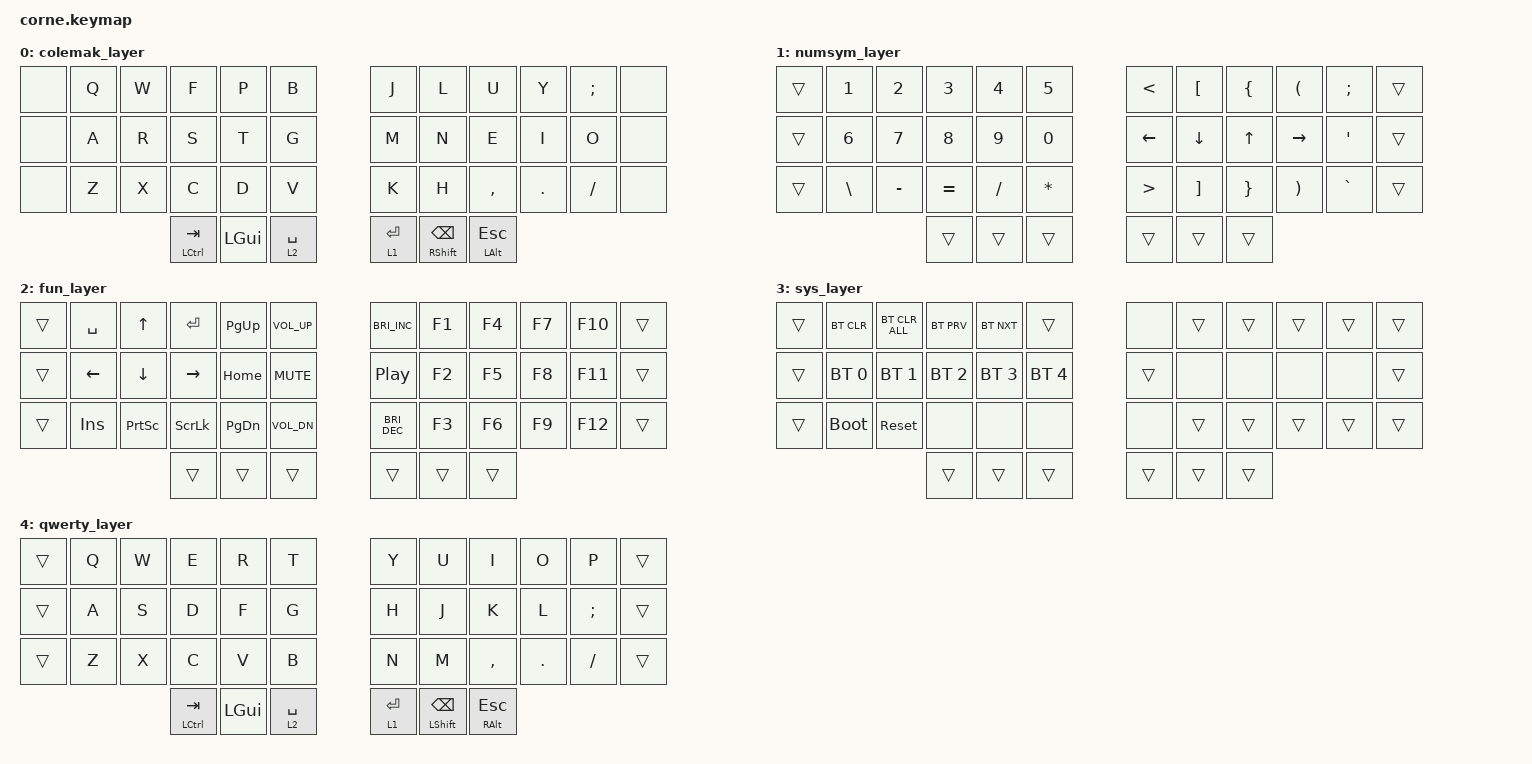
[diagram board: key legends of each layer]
/*
 * Copyright (c) 2020 The ZMK Contributors
 *
 * SPDX-License-Identifier: MIT
 */

#include <behaviors.dtsi>
#include <dt-bindings/zmk/bt.h>
#include <dt-bindings/zmk/keys.h>

&mt {
    tapping-term-ms = <400>;
    quick-tap-ms = <175>;
    require-prior-idle-ms = <150>;
    flavor = "balanced";
};

&lt { tapping-term-ms = <400>; };

/ {
    combos {
        compatible = "zmk,combos";

        combo_esc {
            timeout-ms = <50>;
            key-positions = <0 1 2>;
            bindings = <&kp ESCAPE>;
        };

        combo_bksp {
            timeout-ms = <50>;
            key-positions = <9 8 7>;
            bindings = <&kp BACKSPACE>;
        };

        combo_tab {
            bindings = <&kp TAB>;
            key-positions = <12 11 10>;
        };

        combo_shift {
            bindings = <&kp LEFT_SHIFT>;
            key-positions = <22 21 20>;
        };

        combo_delete {
            bindings = <&kp DELETE>;
            key-positions = <19 18 17>;
        };

        combo_rshift {
            bindings = <&kp RIGHT_SHIFT>;
            key-positions = <29 28 27>;
        };

        exclm {
            bindings = <&kp EXCLAMATION>;
            key-positions = <0 10>;
        };

        at {
            bindings = <&kp AT_SIGN>;
            key-positions = <1 11>;
        };

        hash {
            bindings = <&kp HASH>;
            key-positions = <2 12>;
        };

        dllr {
            bindings = <&kp DOLLAR>;
            key-positions = <3 13>;
        };

        percnt {
            bindings = <&kp PERCENT>;
            key-positions = <4 14>;
        };

        caret {
            bindings = <&kp CARET>;
            key-positions = <5 15>;
        };

        and {
            bindings = <&kp AMPERSAND>;
            key-positions = <6 16>;
        };

        str {
            bindings = <&kp ASTERISK>;
            key-positions = <7 17>;
        };

        leftparen {
            bindings = <&kp LPAR>;
            key-positions = <8 18>;
        };

        rparen {
            bindings = <&kp RPAR>;
            key-positions = <9 19>;
        };

        system_reset {
            bindings = <&sys_reset>;
            key-positions = <2 3 4 11>;
        };

        bootloader {
            bindings = <&bootloader>;
            key-positions = <14 13 12 20>;
        };

        system_layer_combo {
            bindings = <&mo 3>;
            key-positions = <30 31 32>;
        };
    };


    conditional_layers { compatible = "zmk,conditional-layers"; };

    keymap {
        compatible = "zmk,keymap";

        colemak_layer {
            bindings = <
&none  &kp Q  &kp W  &kp F          &kp P     &kp B          &kp J        &kp L                      &kp U             &kp Y    &kp SEMICOLON  &none
&none  &kp A  &kp R  &kp S          &kp T     &kp G          &kp M        &kp N                      &kp E             &kp I    &kp O          &none
&none  &kp Z  &kp X  &kp C          &kp D     &kp V          &kp K        &kp H                      &kp COMMA         &kp DOT  &kp FSLH       &none
                     &mt LCTRL TAB  &kp LGUI  &lt 2 SPACE    &lt 1 ENTER  &mt RIGHT_SHIFT BACKSPACE  &mt LEFT_ALT ESC
            >;
        };

        numsym_layer {
            bindings = <
&trans  &kp N1         &kp N2     &kp N3     &kp N4     &kp N5          &kp LESS_THAN     &kp LEFT_BRACKET   &kp LEFT_BRACE   &kp LEFT_PARENTHESIS   &kp SEMICOLON  &trans
&trans  &kp NUMBER_6   &kp N7     &kp N8     &kp N9     &kp NUMBER_0    &kp LEFT          &kp DOWN           &kp UP           &kp RIGHT              &kp SQT        &trans
&trans  &kp BACKSLASH  &kp MINUS  &kp EQUAL  &kp SLASH  &kp ASTERISK    &kp GREATER_THAN  &kp RIGHT_BRACKET  &kp RIGHT_BRACE  &kp RIGHT_PARENTHESIS  &kp GRAVE      &trans
                                  &trans     &trans     &trans          &trans            &trans             &trans
            >;
        };

        fun_layer {
            bindings = <
&trans  &kp SPACE  &kp UP_ARROW     &kp ENTER       &kp PAGE_UP    &kp C_VOL_UP    &kp C_BRIGHTNESS_INC  &kp F1  &kp F4  &kp F7  &kp F10  &trans
&trans  &kp LEFT   &kp DOWN         &kp RIGHT       &kp HOME       &kp C_MUTE      &kp C_PLAY_PAUSE      &kp F2  &kp F5  &kp F8  &kp F11  &trans
&trans  &kp INS    &kp PRINTSCREEN  &kp SCROLLLOCK  &kp PAGE_DOWN  &kp C_VOL_DN    &kp C_BRIGHTNESS_DEC  &kp F3  &kp F6  &kp F9  &kp F12  &trans
                                    &trans          &trans         &trans          &trans                &trans  &trans
            >;
        };

        sys_layer {
            bindings = <
&trans  &bt BT_CLR    &bt BT_CLR_ALL  &bt BT_PRV    &bt BT_NXT    &trans          &none   &trans  &trans  &trans  &trans  &trans
&trans  &bt BT_SEL 0  &bt BT_SEL 1    &bt BT_SEL 2  &bt BT_SEL 3  &bt BT_SEL 4    &trans  &none   &none   &none   &none   &trans
&trans  &bootloader   &sys_reset      &none         &none         &none           &none   &trans  &trans  &trans  &trans  &trans
                                      &trans        &trans        &trans          &trans  &trans  &trans
            >;
        };

        qwerty_layer {
            bindings = <
&trans  &kp Q  &kp W  &kp E          &kp R         &kp T          &kp Y        &kp U                     &kp I              &kp O    &kp P     &trans
&trans  &kp A  &kp S  &kp D          &kp F         &kp G          &kp H        &kp J                     &kp K              &kp L    &kp SEMI  &trans
&trans  &kp Z  &kp X  &kp C          &kp V         &kp B          &kp N        &kp M                     &kp COMMA          &kp DOT  &kp FSLH  &trans
                      &mt LCTRL TAB  &kp LEFT_GUI  &lt 2 SPACE    &lt 1 ENTER  &mt LEFT_SHIFT BACKSPACE  &mt RIGHT_ALT ESC
            >;
        };
    };
};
